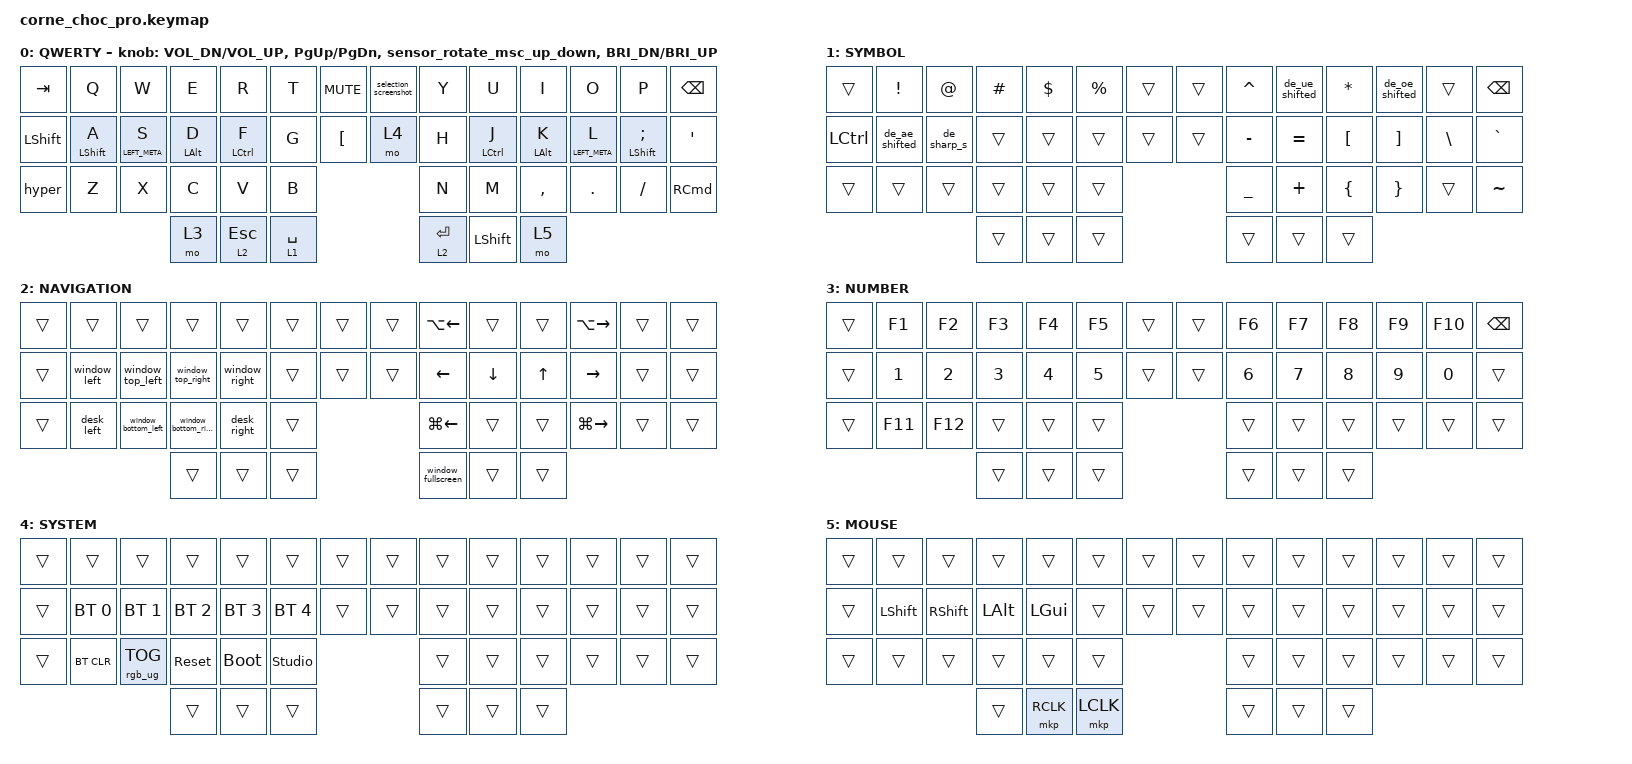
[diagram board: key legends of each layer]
/*
 * Copyright (c) 2020 The ZMK Contributors
 *
 * SPDX-License-Identifier: MIT
 */

#define ZMK_POINTING_DEFAULT_SCRL_VAL 20

#include <behaviors.dtsi>
#include <dt-bindings/zmk/bt.h>
#include <dt-bindings/zmk/keys.h>
#include <dt-bindings/zmk/pointing.h>
#include <dt-bindings/zmk/rgb.h>

&msc {
    acceleration-exponent = <0>;
    time-to-max-speed-ms = <10>;
    delay-ms = <0>;
};

/ {
    chosen { zmk,physical-layout = &default_layout; };
};

/ {
    macros {
        window_bottom_left: window_bottom_left {
            compatible = "zmk,behavior-macro";
            #binding-cells = <0>;
            bindings = <&kp LC(LA(J))>;
            label = "WINDOW_BOTTOM_LEFT";
        };

        window_bottom_right: window_bottom_right {
            compatible = "zmk,behavior-macro";
            #binding-cells = <0>;
            bindings = <&kp LC(LA(K))>;
            label = "WINDOW_BOTTOM_RIGHT";
        };

        window_top_left: window_top_left {
            compatible = "zmk,behavior-macro";
            #binding-cells = <0>;
            bindings = <&kp LC(LA(U))>;
            label = "WINDOW_TOP_LEFT";
        };

        window_top_right: window_top_right {
            compatible = "zmk,behavior-macro";
            #binding-cells = <0>;
            bindings = <&kp LA(LC(I))>;
            label = "WINDOW_TOP_RIGHT";
        };

        window_left: window_left {
            compatible = "zmk,behavior-macro";
            #binding-cells = <0>;
            bindings = <&kp LC(LA(LEFT_ARROW))>;
            label = "WINDOW_LEFT";
        };

        window_right: window_right {
            compatible = "zmk,behavior-macro";
            #binding-cells = <0>;
            bindings = <&kp LA(LC(RIGHT_ARROW))>;
            label = "WINDOW_RIGHT";
        };

        de_ae_lower: de_ae {
            compatible = "zmk,behavior-macro";
            #binding-cells = <0>;
            bindings =
                <&macro_press>,
                <&kp RIGHT_ALT>,
                <&macro_tap>,
                <&kp N0 &kp N0 &kp E &kp N4>,
                <&macro_release>,
                <&kp RALT>;

            label = "DE_AE";
        };

        de_ae_upper: de_ae_upper {
            compatible = "zmk,behavior-macro";
            #binding-cells = <0>;
            bindings =
                <&macro_press>,
                <&kp RALT>,
                <&macro_tap>,
                <&kp N0 &kp N0 &kp C &kp N4>,
                <&macro_release>,
                <&kp RALT>;

            label = "DE_AE_UPPER";
        };

        de_oe_lower: de_oe_lower {
            compatible = "zmk,behavior-macro";
            #binding-cells = <0>;
            bindings =
                <&macro_press>,
                <&kp RALT>,
                <&macro_tap>,
                <&kp N0 &kp N0 &kp F &kp N6>,
                <&macro_release>,
                <&kp RALT>;

            label = "DE_OE_LOWER";
        };

        de_oe_upper: de_oe_upper {
            compatible = "zmk,behavior-macro";
            #binding-cells = <0>;
            bindings =
                <&macro_press>,
                <&kp RALT>,
                <&macro_tap>,
                <&kp N0 &kp N0 &kp D &kp N6>,
                <&macro_release>,
                <&kp RALT>;

            label = "DE_OE_UPPER";
        };

        de_ue_lower: de_ue_lower {
            compatible = "zmk,behavior-macro";
            #binding-cells = <0>;
            bindings =
                <&macro_press>,
                <&kp RALT>,
                <&macro_tap>,
                <&kp N0 &kp N0 &kp F &kp C>,
                <&macro_release>,
                <&kp RALT>;

            label = "DE_UE_LOWER";
        };

        de_ue_upper: de_ue_upper {
            compatible = "zmk,behavior-macro";
            #binding-cells = <0>;
            bindings =
                <&macro_press>,
                <&kp RALT>,
                <&macro_tap>,
                <&kp N0 &kp N0 &kp D &kp C>,
                <&macro_release>,
                <&kp RALT>;

            label = "DE_UE_UPPER";
        };

        window_fullscreen: window_fullscreen {
            compatible = "zmk,behavior-macro";
            #binding-cells = <0>;
            bindings = <&kp LC(LA(ENTER))>;
            label = "WINDOW_FULLSCREEN";
        };

        desk_left: desk_left {
            compatible = "zmk,behavior-macro";
            #binding-cells = <0>;
            bindings = <&kp LC(LEFT)>;
            label = "DESK_LEFT";
        };

        desk_right: desk_right {
            compatible = "zmk,behavior-macro";
            #binding-cells = <0>;
            bindings = <&kp LC(RIGHT)>;
            label = "DESK_RIGHT";
        };

        selection_screenshot: selection_screenhot {
            compatible = "zmk,behavior-macro";
            #binding-cells = <0>;
            bindings = <&kp LS(LG(N4))>;
            label = "SELECTION_SCREENHOT";
        };

        de_sharp_s: de_sharp_s {
            compatible = "zmk,behavior-macro";
            #binding-cells = <0>;
            bindings =
                <&macro_press>,
                <&kp RALT>,
                <&macro_tap>,
                <&kp N0 &kp N0 &kp D &kp F>,
                <&macro_release>,
                <&kp RALT>;

            label = "DE_SHARP_S";
        };

        hyper: hyper {
            compatible = "zmk,behavior-macro";
            #binding-cells = <0>;
            bindings =
                <&macro_press>,
                <&kp LCTRL &kp LGUI &kp LSHIFT &kp LALT>,
                <&macro_pause_for_release>,
                <&macro_release>,
                <&kp LCTRL &kp LCMD &kp LSHIFT &kp LALT>;

            label = "HYPER";
        };
    };

    behaviors {
        hml: hml {
            compatible = "zmk,behavior-hold-tap";
            label = "HML";
            bindings = <&kp>, <&kp>;

            #binding-cells = <2>;
            flavor = "balanced";
            tapping-term-ms = <280>;
            quick-tap-ms = <175>;
            require-prior-idle-ms = <100>;
            hold-trigger-on-release;
            hold-trigger-key-positions = <40 41 42 43 44 45 21 34 35 7 8 9 11 12 13 21 22 23 24 25 26 27 34 35 36 37 38 39 10>;
        };

        hmr: hmr {
            compatible = "zmk,behavior-hold-tap";
            label = "HMR";
            bindings = <&kp>, <&kp>;

            #binding-cells = <2>;
            tapping-term-ms = <280>;
            quick-tap-ms = <175>;
            require-prior-idle-ms = <100>;
            flavor = "balanced";
            hold-trigger-on-release;
            hold-trigger-key-positions = <0 1 2 3 4 5 6 14 15 16 17 18 19 20 28 29 30 31 32 33 40 41 42 43 44 45>;
        };

        de_ae_shifted: de_ae_shifted {
            compatible = "zmk,behavior-mod-morph";
            label = "DE_AE_SHIFTED";
            bindings = <&de_ae_lower>, <&de_ae_upper>;

            #binding-cells = <0>;
            mods = <(MOD_LSFT|MOD_RSFT)>;
        };

        de_oe_shifted: de_oe_shifted {
            compatible = "zmk,behavior-mod-morph";
            label = "DE_OE_SHIFTED";
            bindings = <&de_oe_lower>, <&de_oe_upper>;

            #binding-cells = <0>;
            mods = <(MOD_LSFT|MOD_RSFT)>;
        };

        de_ue_shifted: de_ue_shifted {
            compatible = "zmk,behavior-mod-morph";
            label = "DE_UE_SHIFTED";
            bindings = <&de_ue_lower>, <&de_ue_upper>;

            #binding-cells = <0>;
            mods = <(MOD_LSFT|MOD_RSFT)>;
        };

        hmr_thumb: hmr_thumb {
            compatible = "zmk,behavior-hold-tap";
            label = "HMR_THUMB";
            bindings = <&mo>, <&kp>;

            #binding-cells = <2>;
            tapping-term-ms = <280>;
            quick-tap-ms = <175>;
            require-prior-idle-ms = <150>;
            flavor = "balanced";
            hold-trigger-on-release;
            hold-trigger-key-positions = <0 1 2 3 4 5 6 14 15 16 17 18 19 20 28 29 30 31 32 33 40 41 42 43 44 45>;
        };

        hml_thumb: hml_thumb {
            compatible = "zmk,behavior-hold-tap";
            label = "HML_THUMB";
            bindings = <&kp>, <&kp>;

            #binding-cells = <2>;
            flavor = "balanced";
            tapping-term-ms = <280>;
            quick-tap-ms = <175>;
            require-prior-idle-ms = <150>;
            hold-trigger-on-release;
            hold-trigger-key-positions = <40 41 42 43 44 45 21 34 35 7 8 9 11 12 13 21 22 23 24 25 26 27 34 35 36 37 38 39 10>;
        };

        sensor_rotate_msc_up_down: sensor_rotate_msc_up_down {
            compatible = "zmk,behavior-sensor-rotate";
            label = "SENSOR_ROTATE_MSC_UP_DOWN";
            #sensor-binding-cells = <0>;
            bindings = <&msc MOVE_Y(-100)>, <&msc MOVE_Y(100)>;

            tap-ms = <20>;
        };
    };

    combos {
        compatible = "zmk,combos";

        ampersand {
            bindings = <&kp AMPERSAND>;
            key-positions = <11 25>;
            require-prior-idle-ms = <50>;
            timeout-ms = <30>;
            layers = <0>;
        };

        pipe {
            bindings = <&kp PIPE>;
            key-positions = <25 37>;
            require-prior-idle-ms = <50>;
            timeout-ms = <30>;
            layers = <0>;
        };

        parenthesis_open {
            bindings = <&kp LEFT_PARENTHESIS>;
            key-positions = <23 24>;
            require-prior-idle-ms = <150>;
            timeout-ms = <18>;
            layers = <0>;
        };

        parenthesis_close {
            bindings = <&kp RIGHT_PARENTHESIS>;
            key-positions = <24 25>;
            require-prior-idle-ms = <150>;
            timeout-ms = <18>;
            layers = <0>;
        };

        mouse_layer {
            bindings = <&mo 5>;
            key-positions = <40 41>;
            timeout-ms = <18>;
            require-prior-idle-ms = <150>;
            layers = <0>;
        };

        bracket_open {
            bindings = <&kp LEFT_BRACKET>;
            key-positions = <9 10>;
            timeout-ms = <18>;
            require-prior-idle-ms = <150>;
            layers = <0>;
        };

        bracket_close {
            bindings = <&kp RIGHT_BRACKET>;
            key-positions = <10 11>;
            timeout-ms = <18>;
            require-prior-idle-ms = <150>;
            layers = <0>;
        };

        brace_open {
            bindings = <&kp LEFT_BRACE>;
            key-positions = <35 36>;
            timeout-ms = <18>;
            require-prior-idle-ms = <150>;
            layers = <0>;
        };

        brace_close {
            bindings = <&kp RIGHT_BRACE>;
            key-positions = <36 37>;
            timeout-ms = <18>;
            require-prior-idle-ms = <150>;
            layers = <0>;
        };

        underscore {
            bindings = <&kp UNDERSCORE>;
            key-positions = <35 23>;
            timeout-ms = <30>;
            require-prior-idle-ms = <50>;
            layers = <0>;
        };

        minus {
            bindings = <&kp MINUS>;
            key-positions = <34 22>;
            timeout-ms = <30>;
            require-prior-idle-ms = <50>;
            layers = <0>;
        };
    };

    keymap {
        compatible = "zmk,keymap";

        default_layer {
            display-name = "QWERTY";

            // --------------------------------------------------------------------------------
            // |  TAB |  Q  |  W  |  E  |  R  |  T  |  MUTE |  PP   |  Y  |  U   |  I  |  O  |  P  | BSPC |
            // | CTRL |  A  |  S  |  D  |  F  |  G  |  LALT |  RALT |  H  |  J   |  K  |  L  |  ;  |  '   |
            // | SHFT |  Z  |  X  |  C  |  V  |  B  |               |  N  |  M   |  ,  |  .  |  /  | ESC  |
            //                    | GUI | LWR | SPC |               | ENT | RSE  | ALT |

            bindings = <
&kp TAB         &kp Q              &kp W             &kp E            &kp R         &kp T        &kp C_MUTE        &selection_screenshot  &kp Y        &kp U           &kp I            &kp O             &kp P                      &kp BSPC
&kp LEFT_SHIFT  &hml LEFT_SHIFT A  &hml LEFT_META S  &hml LEFT_ALT D  &hml LCTRL F  &kp G        &kp LEFT_BRACKET  &mo 4                  &kp H        &hmr LCTRL J    &hmr LEFT_ALT K  &hmr LEFT_META L  &hmr LEFT_SHIFT SEMICOLON  &kp SQT
&hyper          &kp Z              &kp X             &kp C            &kp V         &kp B                                                 &kp N        &kp M           &kp COMMA        &kp DOT           &kp FSLH                   &kp RCMD
                                                     &mo 3            &lt 2 ESC     &lt 1 SPACE                                           &lt 2 ENTER  &kp LEFT_SHIFT  &mo 5
            >;

            sensor-bindings =
                <&inc_dec_kp C_VOL_DN C_VOL_UP>,
                <&inc_dec_kp PG_UP PG_DN>,
                <&sensor_rotate_msc_up_down>,
                <&inc_dec_kp C_BRI_DN C_BRI_UP>;
        };

        raise_layer {
            display-name = "SYMBOL";

            // -----------------------------------------------------------------------------------------
            // |  TAB |  !  |  @  |  #  |  $  |  %  | LCTRL | RCTRL |  ^  |  &  |  *  |  (  |  )  | BSPC |
            // | CTRL |     |     |     |     |     |  LALT | RALT  |  -  |  =  |  [  |  ]  |  \  |  `   |
            // | SHFT |     |     |     |     |     |               |  _  |  +  |  {  |  }  | "|" |  ~   |
            //                    | GUI |     | SPC |               | ENT |     | ALT |

            bindings = <
&trans     &kp EXCL        &kp AT       &kp HASH  &kp DLLR  &kp PRCNT  &trans  &trans  &kp CARET  &de_ue_shifted  &kp ASTRK  &de_oe_shifted  &trans    &kp BSPC
&kp LCTRL  &de_ae_shifted  &de_sharp_s  &trans    &trans    &trans     &trans  &trans  &kp MINUS  &kp EQUAL       &kp LBKT   &kp RBKT        &kp BSLH  &kp GRAVE
&trans     &trans          &trans       &trans    &trans    &trans                     &kp UNDER  &kp PLUS        &kp LBRC   &kp RBRC        &trans    &kp TILDE
                                        &trans    &trans    &trans                     &trans     &trans          &trans
            >;
        };

        navigation_layer {
            display-name = "NAVIGATION";
            bindings = <
&trans  &trans        &trans               &trans                &trans         &trans  &trans  &trans  &kp LA(LEFT_ARROW)  &trans          &trans        &kp LA(RIGHT_ARROW)  &trans  &trans
&trans  &window_left  &window_top_left     &window_top_right     &window_right  &trans  &trans  &trans  &kp LEFT            &kp DOWN_ARROW  &kp UP_ARROW  &kp RIGHT            &trans  &trans
&trans  &desk_left    &window_bottom_left  &window_bottom_right  &desk_right    &trans                  &kp LG(LEFT_ARROW)  &trans          &trans        &kp LG(RIGHT)        &trans  &trans
                                           &trans                &trans         &trans                  &window_fullscreen  &trans          &trans
            >;
        };

        number_layer {
            display-name = "NUMBER";
            bindings = <
&trans  &kp F1   &kp F2   &kp F3  &kp F4  &kp F5  &trans  &trans  &kp F6  &kp F7  &kp F8  &kp F9  &kp F10  &kp BACKSPACE
&trans  &kp N1   &kp N2   &kp N3  &kp N4  &kp N5  &trans  &trans  &kp N6  &kp N7  &kp N8  &kp N9  &kp N0   &trans
&trans  &kp F11  &kp F12  &trans  &trans  &trans                  &trans  &trans  &trans  &trans  &trans   &trans
                          &trans  &trans  &trans                  &trans  &trans  &trans
            >;
        };

        system_layer {
            display-name = "SYSTEM";

            // -----------------------------------------------------------------------------------------
            // |  TAB |  1  |  2  |  3  |  4  |  5    |  LCTRL | RCTRL |  6  |  7  |  8  |  9  |  0  | BSPC |
            // | CTRL | BT1 | BT2 | BT3 | BT4 | BT5   |  LALT  | RALT  | LFT | DWN |  UP | RGT |     |      |
            // | SHFT | BTCR| RGB | RST | BOOT| Unlock|        |       |     |     |     |     |     |      |
            //                    | GUI |     | SPC   |        | ENT   |     | ALT |

            bindings = <
&trans  &trans        &trans           &trans        &trans        &trans          &trans  &trans  &trans  &trans  &trans  &trans  &trans  &trans
&trans  &bt BT_SEL 0  &bt BT_SEL 1     &bt BT_SEL 2  &bt BT_SEL 3  &bt BT_SEL 4    &trans  &trans  &trans  &trans  &trans  &trans  &trans  &trans
&trans  &bt BT_CLR    &rgb_ug RGB_TOG  &sys_reset    &bootloader   &studio_unlock                  &trans  &trans  &trans  &trans  &trans  &trans
                                       &trans        &trans        &trans                          &trans  &trans  &trans
            >;
        };

        mouse_layer {
            bindings = <
&trans  &trans          &trans           &trans        &trans        &trans     &trans  &trans  &trans  &trans  &trans  &trans  &trans  &trans
&trans  &kp LEFT_SHIFT  &kp RIGHT_SHIFT  &kp LEFT_ALT  &kp LEFT_GUI  &trans     &trans  &trans  &trans  &trans  &trans  &trans  &trans  &trans
&trans  &trans          &trans           &trans        &trans        &trans                     &trans  &trans  &trans  &trans  &trans  &trans
                                         &trans        &mkp RCLK     &mkp LCLK                  &trans  &trans  &trans
            >;

            label = "MOUSE";
        };
    };
};
